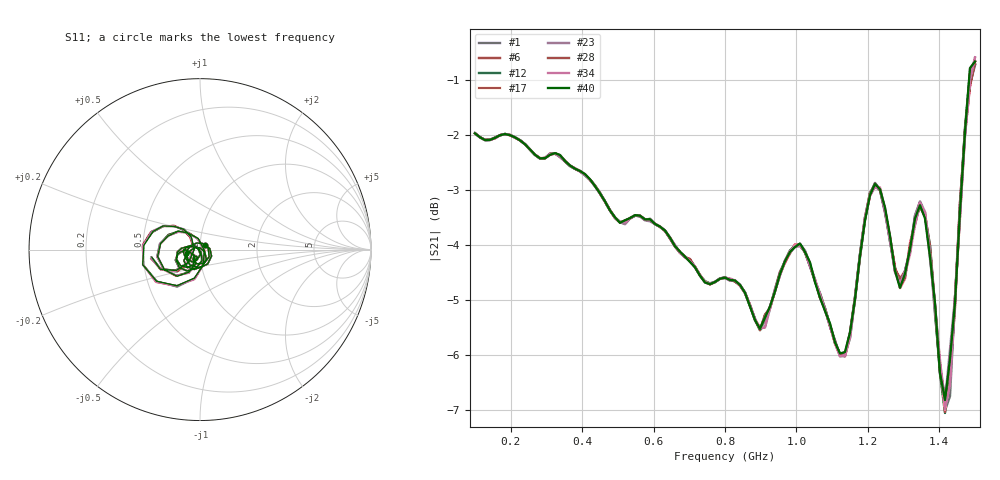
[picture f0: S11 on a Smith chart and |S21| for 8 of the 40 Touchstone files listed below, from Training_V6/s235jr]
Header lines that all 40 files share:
! NanoVNA-App
! Start: 100MHz Stop: 1,5GHz Points: 101
! S-Parameter data: F S11 S21 S12 S22
# Hz S RI R 50
!  Frequency  S11_Real  S11_Imag  S21_Real  S21_Imag  S12_Real  S12_Imag  S22_Real  S22_Imag
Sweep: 100 MHz to 1.5 GHz
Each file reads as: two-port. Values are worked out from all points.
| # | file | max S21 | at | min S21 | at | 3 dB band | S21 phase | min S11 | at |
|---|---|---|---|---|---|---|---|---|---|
| 1 | s235jr (601).s2p | -0.72 dB | 1.5 GHz | -7.0 dB | 1.416 GHz | 100 MHz-618 MHz | 125 deg at 800 MHz | -39.9 dB | 660 MHz |
| 2 | s235jr (602).s2p | -0.75 dB | 1.5 GHz | -6.8 dB | 1.416 GHz | 100 MHz-632 MHz | 126 deg at 800 MHz | -40.1 dB | 660 MHz |
| 3 | s235jr (603).s2p | -0.80 dB | 1.5 GHz | -7.0 dB | 1.416 GHz | 100 MHz-632 MHz | 125 deg at 800 MHz | -39.7 dB | 660 MHz |
| 4 | s235jr (604).s2p | -0.52 dB | 1.5 GHz | -6.9 dB | 1.416 GHz | 100 MHz-492 MHz | 126 deg at 800 MHz | -40.2 dB | 660 MHz |
| 5 | s235jr (605).s2p | -0.62 dB | 1.5 GHz | -6.8 dB | 1.416 GHz | 100 MHz-604 MHz | 125 deg at 800 MHz | -40.7 dB | 660 MHz |
| 6 | s235jr (606).s2p | -0.66 dB | 1.5 GHz | -6.9 dB | 1.416 GHz | 100 MHz-604 MHz | 125 deg at 800 MHz | -40.0 dB | 660 MHz |
| 7 | s235jr (607).s2p | -0.75 dB | 1.5 GHz | -6.8 dB | 1.416 GHz | 100 MHz-632 MHz | 126 deg at 800 MHz | -40.1 dB | 660 MHz |
| 8 | s235jr (608).s2p | -0.60 dB | 1.5 GHz | -7.2 dB | 1.416 GHz | 100 MHz-590 MHz | 125 deg at 800 MHz | -40.0 dB | 660 MHz |
| 9 | s235jr (609).s2p | -0.72 dB | 1.5 GHz | -6.8 dB | 1.416 GHz | 100 MHz-618 MHz | 125 deg at 800 MHz | -39.9 dB | 660 MHz |
| 10 | s235jr (610).s2p | -0.48 dB | 1.5 GHz | -7.1 dB | 1.416 GHz | 100 MHz-478 MHz | 125 deg at 800 MHz | -40.3 dB | 660 MHz |
| 11 | s235jr (611).s2p | -0.67 dB | 1.5 GHz | -7.0 dB | 1.416 GHz | 100 MHz-618 MHz | 126 deg at 800 MHz | -40.6 dB | 660 MHz |
| 12 | s235jr (612).s2p | -0.71 dB | 1.5 GHz | -7.1 dB | 1.416 GHz | 100 MHz-618 MHz | 126 deg at 800 MHz | -39.7 dB | 660 MHz |
| 13 | s235jr (613).s2p | -0.45 dB | 1.5 GHz | -6.9 dB | 1.416 GHz | 100 MHz-478 MHz | 126 deg at 800 MHz | -40.1 dB | 660 MHz |
| 14 | s235jr (614).s2p | -0.56 dB | 1.5 GHz | -6.8 dB | 1.416 GHz | 100 MHz-492 MHz | 125 deg at 800 MHz | -40.3 dB | 660 MHz |
| 15 | s235jr (615).s2p | -0.67 dB | 1.5 GHz | -6.8 dB | 1.416 GHz | 100 MHz-618 MHz | 125 deg at 800 MHz | -40.2 dB | 660 MHz |
| 16 | s235jr (616).s2p | -0.58 dB | 1.5 GHz | -7.0 dB | 1.416 GHz | 100 MHz-590 MHz | 125 deg at 800 MHz | -40.0 dB | 660 MHz |
| 17 | s235jr (617).s2p | -0.66 dB | 1.5 GHz | -7.0 dB | 1.416 GHz | 100 MHz-604 MHz | 125 deg at 800 MHz | -39.8 dB | 660 MHz |
| 18 | s235jr (618).s2p | -0.69 dB | 1.5 GHz | -6.8 dB | 1.416 GHz | 100 MHz-618 MHz | 125 deg at 800 MHz | -39.9 dB | 660 MHz |
| 19 | s235jr (619).s2p | -0.71 dB | 1.5 GHz | -7.0 dB | 1.416 GHz | 100 MHz-618 MHz | 125 deg at 800 MHz | -39.7 dB | 660 MHz |
| 20 | s235jr (620).s2p | -0.76 dB | 1.5 GHz | -6.8 dB | 1.416 GHz | 100 MHz-632 MHz | 125 deg at 800 MHz | -40.3 dB | 660 MHz |
| 21 | s235jr (621).s2p | -0.68 dB | 1.5 GHz | -6.8 dB | 1.416 GHz | 100 MHz-618 MHz | 126 deg at 800 MHz | -40.0 dB | 660 MHz |
| 22 | s235jr (622).s2p | -0.54 dB | 1.5 GHz | -6.9 dB | 1.416 GHz | 100 MHz-492 MHz | 125 deg at 800 MHz | -40.3 dB | 660 MHz |
| 23 | s235jr (623).s2p | -0.58 dB | 1.5 GHz | -6.8 dB | 1.416 GHz | 100 MHz-492 MHz | 125 deg at 800 MHz | -40.1 dB | 660 MHz |
| 24 | s235jr (624).s2p | -0.82 dB | 1.5 GHz | -7.0 dB | 1.416 GHz | 100 MHz-632 MHz | 125 deg at 800 MHz | -40.3 dB | 660 MHz |
| 25 | s235jr (625).s2p | -0.74 dB | 1.5 GHz | -7.0 dB | 1.416 GHz | 100 MHz-632 MHz | 125 deg at 800 MHz | -40.1 dB | 660 MHz |
| 26 | s235jr (626).s2p | -0.57 dB | 1.5 GHz | -6.9 dB | 1.416 GHz | 100 MHz-492 MHz | 125 deg at 800 MHz | -40.6 dB | 660 MHz |
| 27 | s235jr (627).s2p | -0.60 dB | 1.5 GHz | -6.9 dB | 1.416 GHz | 100 MHz-590 MHz | 125 deg at 800 MHz | -40.6 dB | 660 MHz |
| 28 | s235jr (628).s2p | -0.70 dB | 1.5 GHz | -6.8 dB | 1.416 GHz | 100 MHz-618 MHz | 125 deg at 800 MHz | -39.9 dB | 660 MHz |
| 29 | s235jr (629).s2p | -0.60 dB | 1.5 GHz | -6.9 dB | 1.416 GHz | 100 MHz-590 MHz | 125 deg at 800 MHz | -40.5 dB | 660 MHz |
| 30 | s235jr (630).s2p | -0.80 dB | 1.5 GHz | -6.8 dB | 1.416 GHz | 100 MHz-632 MHz | 125 deg at 800 MHz | -40.2 dB | 660 MHz |
| 31 | s235jr (631).s2p | -0.59 dB | 1.5 GHz | -7.0 dB | 1.416 GHz | 100 MHz-590 MHz | 126 deg at 800 MHz | -40.0 dB | 660 MHz |
| 32 | s235jr (632).s2p | -0.72 dB | 1.5 GHz | -7.0 dB | 1.416 GHz | 100 MHz-618 MHz | 125 deg at 800 MHz | -39.9 dB | 660 MHz |
| 33 | s235jr (633).s2p | -0.59 dB | 1.5 GHz | -6.9 dB | 1.416 GHz | 100 MHz-590 MHz | 125 deg at 800 MHz | -40.2 dB | 660 MHz |
| 34 | s235jr (634).s2p | -0.59 dB | 1.5 GHz | -7.0 dB | 1.416 GHz | 100 MHz-590 MHz | 126 deg at 800 MHz | -40.2 dB | 660 MHz |
| 35 | s235jr (635).s2p | -0.62 dB | 1.5 GHz | -6.9 dB | 1.416 GHz | 100 MHz-604 MHz | 126 deg at 800 MHz | -40.0 dB | 660 MHz |
| 36 | s235jr (636).s2p | -0.68 dB | 1.5 GHz | -6.9 dB | 1.416 GHz | 100 MHz-618 MHz | 125 deg at 800 MHz | -40.4 dB | 660 MHz |
| 37 | s235jr (637).s2p | -0.65 dB | 1.5 GHz | -6.8 dB | 1.416 GHz | 100 MHz-604 MHz | 125 deg at 800 MHz | -40.3 dB | 660 MHz |
| 38 | s235jr (638).s2p | -0.71 dB | 1.5 GHz | -7.0 dB | 1.416 GHz | 100 MHz-618 MHz | 125 deg at 800 MHz | -40.3 dB | 660 MHz |
| 39 | s235jr (639).s2p | -0.80 dB | 1.5 GHz | -7.0 dB | 1.416 GHz | 100 MHz-632 MHz | 125 deg at 800 MHz | -39.8 dB | 660 MHz |
| 40 | s235jr (640).s2p | -0.66 dB | 1.5 GHz | -6.8 dB | 1.416 GHz | 100 MHz-604 MHz | 125 deg at 800 MHz | -40.7 dB | 660 MHz |
